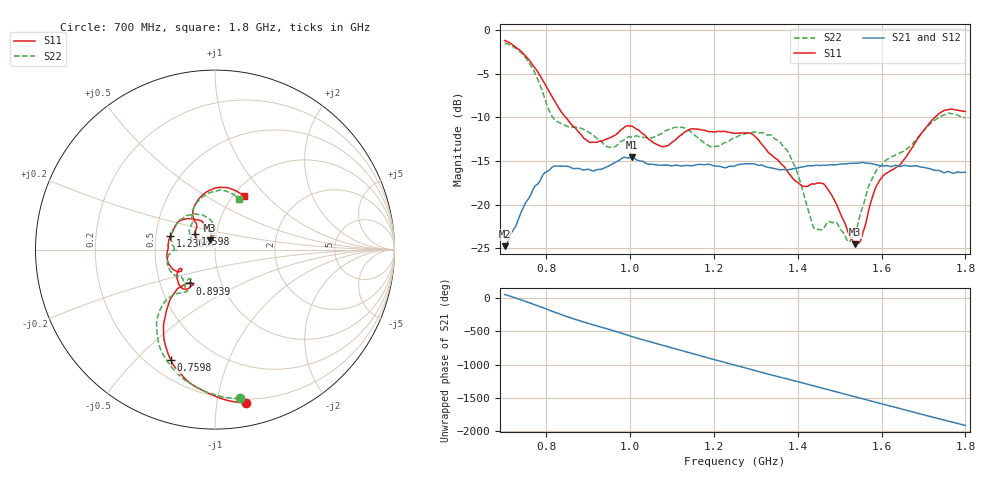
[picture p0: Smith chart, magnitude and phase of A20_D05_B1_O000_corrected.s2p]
! Created with skrf 1.9.0 (http://scikit-rf.org).
# Hz S RI R 50.0
!freq ReS11 ImS11 ReS21 ImS21 ReS12 ImS12 ReS22 ImS22
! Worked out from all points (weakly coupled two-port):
!   1601 points, 700 MHz to 1.8 GHz, reference 50 ohm
!   highest |S21| = -14.56 dB at 1.004 GHz (marker M1); lowest = -24.7 dB at 700.7 MHz (marker M2)
!   lowest |S11| = -24.5 dB at 1.537 GHz (marker M3), VSWR 1.13, Z = 47 + j4.97 ohm
!   |S11| at or under -10 dB: 845.7 MHz to 1.727 GHz (881.5 MHz wide, 68.5 % of centre)
!   |S22| runs from -24.3 to -1.5 dB; largest |S21 - S12| = 0.0035
!   S11 on the Smith chart (normalised r, x): 700 MHz: 0.17, -1.20; 759.8 MHz: 0.29, -0.64; 893.9 MHz: 0.71, -0.28; 1.236 GHz: 0.60, +0.10; 1.598 GHz: 0.79, +0.14; 1.8 GHz: 1.12, +0.76
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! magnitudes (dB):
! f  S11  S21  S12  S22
! 700 MHz  -1.2  -24.7  -24.5  -1.5
! 700.7 MHz  -1.2  -24.7  -24.4  -1.5
! 759.8 MHz  -3.6  -19.1  -19.0  -3.9
! 816.9 MHz  -7.9  -15.6  -15.7  -10.1
! 883.6 MHz  -12.1  -16.0  -15.9  -11.3
! 893.9 MHz  -12.6  -16.0  -16.1  -11.5
! 950.2 MHz  -12.4  -15.5  -15.5  -13.4
! 1.004 GHz  -11.0  -14.6  -14.7  -12.3
! 1.067 GHz  -13.2  -15.5  -15.4  -12.0
! 1.236 GHz  -11.7  -15.6  -15.7  -12.7
! 1.25 GHz  -11.8  -15.6  -15.5  -12.3
! 1.292 GHz  -11.9  -15.3  -15.3  -11.7
! 1.357 GHz  -15.2  -16.0  -15.9  -12.8
! 1.394 GHz  -17.3  -15.8  -15.8  -15.8
! 1.434 GHz  -17.6  -15.6  -15.5  -22.1
! 1.468 GHz  -18.0  -15.5  -15.5  -22.2
! 1.537 GHz  -24.5  -15.3  -15.3  -23.4
! 1.57 GHz  -20.5  -15.3  -15.3  -17.8
! 1.598 GHz  -17.0  -15.6  -15.5  -15.6
! 1.617 GHz  -16.3  -15.6  -15.5  -14.7
! 1.735 GHz  -9.6  -16.1  -16.1  -10.0
! 1.8 GHz  -9.3  -16.3  -16.3  -10.0
